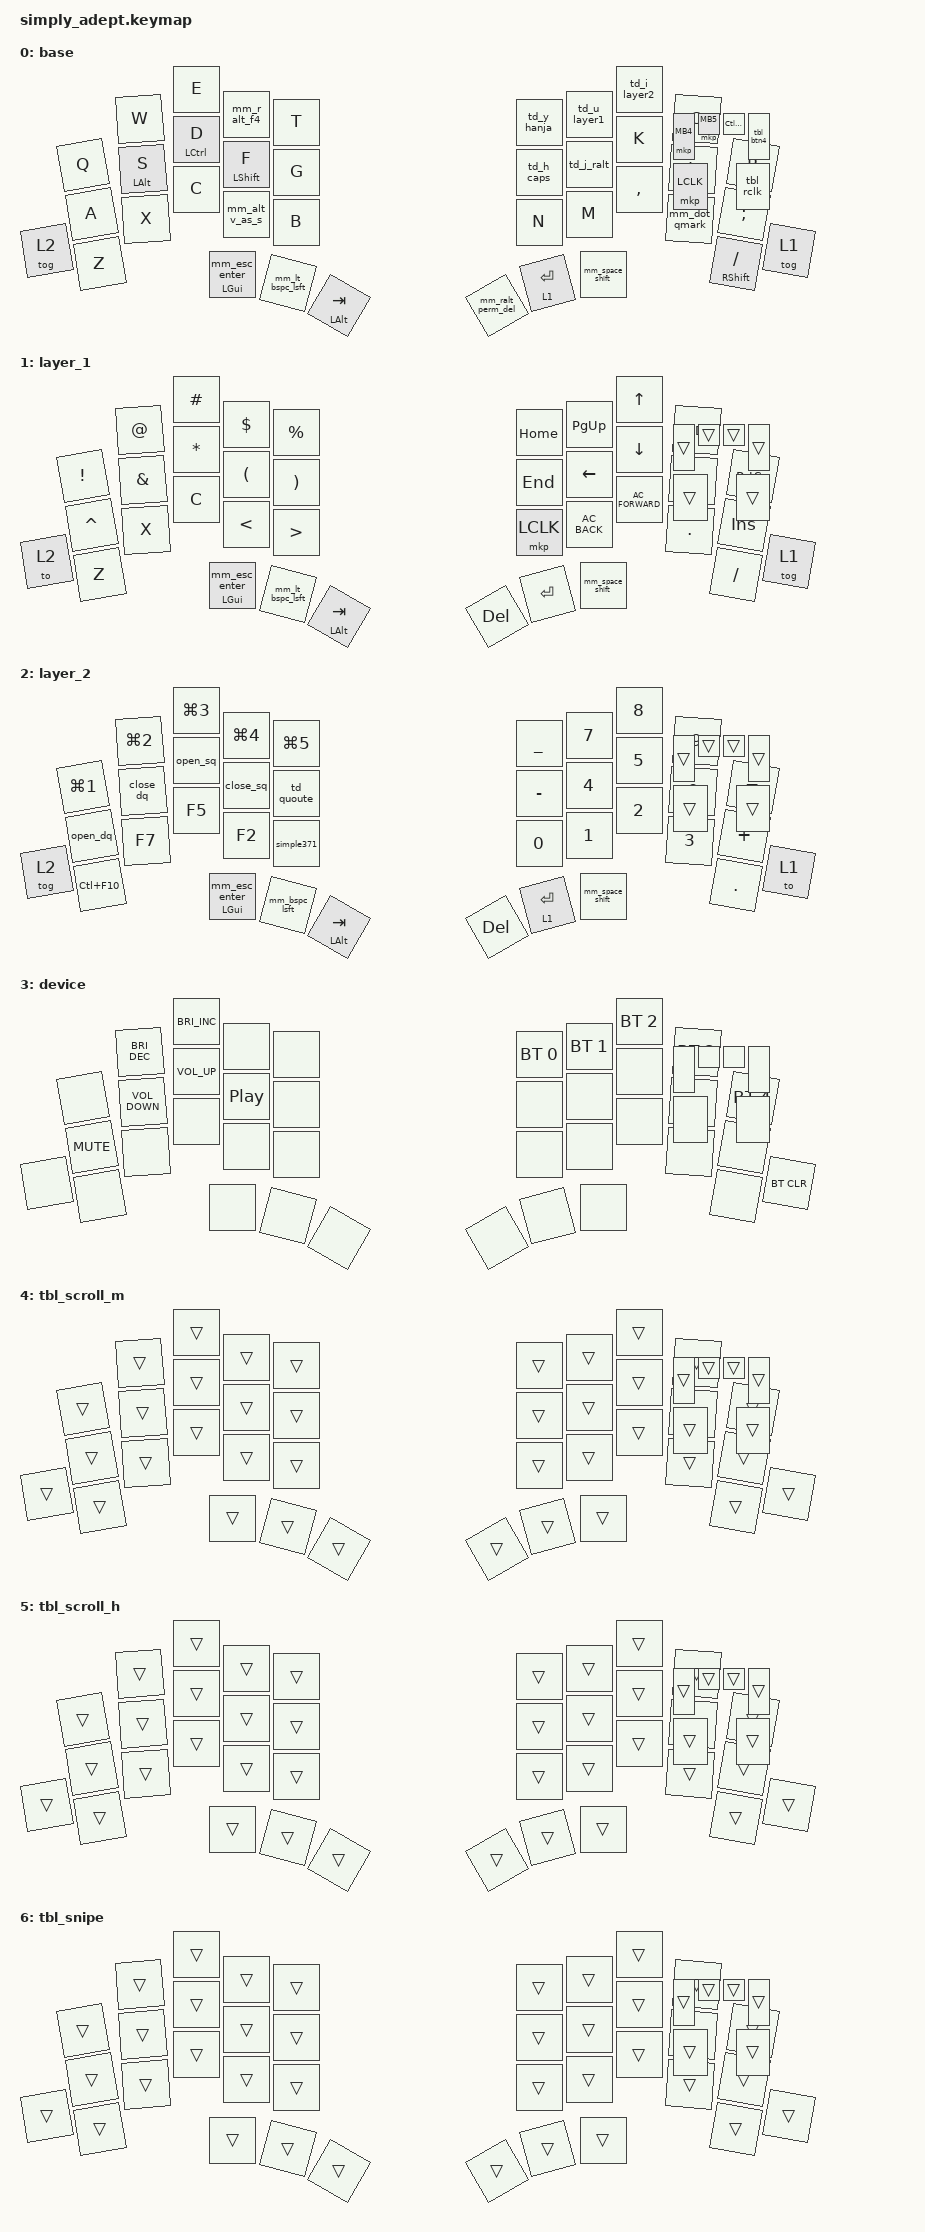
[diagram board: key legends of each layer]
/*
 * Totem keymap — 44 positions
 *   0-37 : keyboard keys (left 0-18, right 19-37, counting by matrix map order)
 *  38-43 : trackball buttons (row 4, cols 0-5)
 */

#include <behaviors.dtsi>
#include <dt-bindings/zmk/bt.h>
#include <dt-bindings/zmk/keys.h>
#include <dt-bindings/zmk/mouse.h>
#include <dt-bindings/zmk/pointing.h>

/ {
    macros {
        simple371: simple371 {
            compatible = "zmk,behavior-macro";
            #binding-cells = <0>;
            bindings = <&kp S &kp I &kp M &kp P &kp L &kp E &kp N3 &kp N7 &kp N1>;
        };

        open_dq: open_dq {
            compatible = "zmk,behavior-macro";
            #binding-cells = <0>;
            wait-ms = <20>;
            tap-ms = <20>;
            bindings =
                <&macro_tap>, <&kp KP_NUM>,
                <&macro_press>, <&kp LALT>,
                <&macro_tap>, <&kp KP_N0 &kp KP_N1 &kp KP_N4 &kp KP_N7>,
                <&macro_release>, <&kp LALT>,
                <&macro_tap>, <&kp KP_NUM>;
        };

        close_dq: close_dq {
            compatible = "zmk,behavior-macro";
            #binding-cells = <0>;
            wait-ms = <20>;
            tap-ms = <20>;
            bindings =
                <&macro_tap>, <&kp KP_NUM>,
                <&macro_press>, <&kp LALT>,
                <&macro_tap>, <&kp KP_N0 &kp KP_N1 &kp KP_N4 &kp KP_N8>,
                <&macro_release>, <&kp LALT>,
                <&macro_tap>, <&kp KP_NUM>;
        };

        open_sq: open_sq {
            compatible = "zmk,behavior-macro";
            #binding-cells = <0>;
            wait-ms = <20>;
            tap-ms = <20>;
            bindings =
                <&macro_tap>, <&kp KP_NUM>,
                <&macro_press>, <&kp LALT>,
                <&macro_tap>, <&kp KP_N0 &kp KP_N1 &kp KP_N4 &kp KP_N5>,
                <&macro_release>, <&kp LALT>,
                <&macro_tap>, <&kp KP_NUM>;
        };

        close_sq: close_sq {
            compatible = "zmk,behavior-macro";
            #binding-cells = <0>;
            wait-ms = <20>;
            tap-ms = <20>;
            bindings =
                <&macro_tap>, <&kp KP_NUM>,
                <&macro_press>, <&kp LALT>,
                <&macro_tap>, <&kp KP_N0 &kp KP_N1 &kp KP_N4 &kp KP_N6>,
                <&macro_release>, <&kp LALT>,
                <&macro_tap>, <&kp KP_NUM>;
        };
    };

    behaviors {
        hm: homerow_mods {
            compatible = "zmk,behavior-hold-tap";
            #binding-cells = <2>;
            tapping-term-ms = <190>;
            quick-tap-ms = <0>;
            flavor = "tap-preferred";
            require-prior-idle-ms = <190>;
            bindings = <&kp>, <&kp>;
        };

        hs: homerow_shift {
            compatible = "zmk,behavior-hold-tap";
            #binding-cells = <2>;
            tapping-term-ms = <190>;
            quick-tap-ms = <0>;
            flavor = "balanced";
            require-prior-idle-ms = <0>;
            bindings = <&kp>, <&kp>;
        };

        mm_space_ralt: mod_morph_space_ralt {
            compatible = "zmk,behavior-mod-morph";
            #binding-cells = <0>;
            bindings = <&kp SPACE>, <&kp DEL>;
            mods = <(MOD_RSFT)>;
        };

        mm_r_alt_f4: mod_morph_r_alt_f4 {
            compatible = "zmk,behavior-mod-morph";
            #binding-cells = <0>;
            bindings = <&kp R>, <&kp LA(F4)>;
            mods = <(MOD_LALT)>;
        };

        mm_dot_qmark: mod_morph_dot_qmark {
            compatible = "zmk,behavior-mod-morph";
            #binding-cells = <0>;
            bindings = <&kp DOT>, <&kp FSLH>;
            mods = <(MOD_RSFT)>;
            keep-mods = <(MOD_RSFT)>;
        };

        mm_esc_enter: mod_morph_esc_enter {
            compatible = "zmk,behavior-mod-morph";
            #binding-cells = <0>;
            bindings = <&kp ESC>, <&kp ENTER>;
            mods = <(MOD_LSFT)>;
        };

        mt_lgui_esc: mt_lgui_esc {
            compatible = "zmk,behavior-hold-tap";
            #binding-cells = <2>;
            tapping-term-ms = <200>;
            quick-tap-ms = <0>;
            flavor = "tap-preferred";
            bindings = <&kp>, <&mm_esc_enter>;
        };

        mm_bspc_lsft: mod_morph_bspc_lsft {
            compatible = "zmk,behavior-mod-morph";
            #binding-cells = <0>;
            bindings = <&kp BSPC>, <&kp BSPC>;
            mods = <(MOD_LSFT)>;
        };

        mm_enter_alttab: mod_morph_enter_alttab {
            compatible = "zmk,behavior-mod-morph";
            #binding-cells = <0>;
            bindings = <&mm_bspc_lsft>, <&kp TAB>;
            mods = <(MOD_LALT|MOD_RALT)>;
            keep-mods = <(MOD_LALT|MOD_RALT)>;
        };

        lt_mm: lt_mod_morph {
            compatible = "zmk,behavior-hold-tap";
            #binding-cells = <2>;
            tapping-term-ms = <170>;
            quick-tap-ms = <0>;
            flavor = "tap-preferred";
            bindings = <&mo>, <&mm_enter_alttab>;
        };

        td_h_caps: tap_dance_h_caps {
            compatible = "zmk,behavior-tap-dance";
            #binding-cells = <0>;
            tapping-term-ms = <210>;
            bindings = <&kp H>, <&kp CAPS>;
        };

        td_j_ralt: tap_dance_j_ralt {
            compatible = "zmk,behavior-tap-dance";
            #binding-cells = <0>;
            tapping-term-ms = <210>;
            bindings = <&kp J>, <&kp RALT>;
        };

        td_u_layer1: td_u_layer1 {
            compatible = "zmk,behavior-tap-dance";
            #binding-cells = <0>;
            tapping-term-ms = <210>;
            bindings = <&kp U>, <&tog 1>;
        };

        td_y_hanja: td_y_hanja {
            compatible = "zmk,behavior-tap-dance";
            #binding-cells = <0>;
            tapping-term-ms = <210>;
            bindings = <&kp Y>, <&kp LANG_HANJA>;
        };

        td_i_layer2: td_i_layer2 {
            compatible = "zmk,behavior-tap-dance";
            #binding-cells = <0>;
            tapping-term-ms = <210>;
            bindings = <&kp I>, <&tog 2>;
        };

        td_quoute: td_quoute {
            compatible = "zmk,behavior-tap-dance";
            #binding-cells = <0>;
            tapping-term-ms = <210>;
            bindings = <&kp SINGLE_QUOTE>, <&kp DOUBLE_QUOTES>;
        };

        mm_space_shift: mod_morph_space_shift {
            compatible = "zmk,behavior-mod-morph";
            #binding-cells = <0>;
            bindings = <&mm_space_ralt>, <&kp DEL>;
            mods = <(MOD_RSFT)>;
        };

        mm_ralt_perm_del: mod_morph_ralt_perm_del {
            compatible = "zmk,behavior-mod-morph";
            #binding-cells = <0>;
            bindings = <&kp RALT>, <&kp LS(DEL)>;
            mods = <(MOD_RSFT)>;
        };

        mm_lt_bspc_lsft: mm_lt_bspc_lsft {
            compatible = "zmk,behavior-mod-morph";
            #binding-cells = <0>;
            bindings = <&lt_mm 2 0>, <&mm_bspc_lsft>;
            mods = <(MOD_LSFT)>;
        };

        mm_alt_v_as_s: mm_alt_v_as_s {
            compatible = "zmk,behavior-mod-morph";
            #binding-cells = <0>;
            bindings = <&kp V>, <&kp S>;
            mods = <(MOD_LALT)>;
            keep-mods = <(MOD_LALT)>;
        };

        lth: layer_tap_hold {
            compatible = "zmk,behavior-hold-tap";
            #binding-cells = <2>;
            flavor = "hold-preferred";
            hold-while-undecided;
            tapping-term-ms = <150>;
            bindings = <&mo>, <&mkp>;
        };

        tbl_btn4: tbl_btn4 {
            compatible = "zmk,behavior-tap-dance";
            #binding-cells = <0>;
            tapping-term-ms = <250>;
            bindings = <&kp LC(V)>, <&tog 6>;
        };

        tbl_rclk: tbl_rclk {
            compatible = "zmk,behavior-tap-dance";
            #binding-cells = <0>;
            tapping-term-ms = <250>;
            bindings = <&lth 4 RCLK>, <&tog 5>;
        };
    };

    combos {
        compatible = "zmk,combos";

        combo_kl_ralt {
            timeout-ms = <75>;
            key-positions = <17 18>;
            bindings = <&kp RALT>;
        };

        combo_mcomma_excl {
            timeout-ms = <75>;
            key-positions = <27 28>;
            bindings = <&kp EXCL>;
        };

        combo_commadot_qmark {
            timeout-ms = <75>;
            key-positions = <28 29>;
            bindings = <&kp QMARK>;
        };

        combo_cv_paste {
            timeout-ms = <75>;
            key-positions = <23 24>;
            bindings = <&kp LC(V)>;
        };

        combo_xc_copy {
            timeout-ms = <75>;
            key-positions = <22 23>;
            bindings = <&kp LC(C)>;
        };

        combo_zx_cut {
            timeout-ms = <100>;
            key-positions = <21 22>;
            bindings = <&kp LC(X)>;
        };

        combo_xv_enter {
            timeout-ms = <75>;
            key-positions = <22 24>;
            bindings = <&kp ENTER>;
        };

        combo_vb_enter {
            timeout-ms = <75>;
            key-positions = <24 25>;
            bindings = <&kp ENTER>;
        };

        combo_nm_tilde {
            timeout-ms = <75>;
            key-positions = <26 27>;
            bindings = <&kp TILDE>;
        };

        combo_mdot_del {
            timeout-ms = <75>;
            key-positions = <27 29>;
            bindings = <&kp DEL>;
        };

        combo_wr_ralt {
            timeout-ms = <75>;
            key-positions = <1 3>;
            bindings = <&kp RALT>;
        };

        combo_we_back {
            timeout-ms = <75>;
            key-positions = <1 2>;
            bindings = <&kp C_AC_BACK>;
        };

        combo_er_forward {
            timeout-ms = <75>;
            key-positions = <2 3>;
            bindings = <&kp C_AC_FORWARD>;
        };

        /* Trackball combos */
        combo_tb_rclk {
            timeout-ms = <75>;
            key-positions = <40 41>;
            bindings = <&mkp RCLK>;
        };

        combo_tb_bootloader {
            timeout-ms = <75>;
            key-positions = <38 41>;
            bindings = <&bootloader>;
        };

        combo_ble_reset {
            timeout-ms = <150>;
            key-positions = <38 39 40 41>;
            bindings = <&bt BT_CLR>;
        };
    };

    keymap {
        compatible = "zmk,keymap";

        base {
            bindings = <
        &kp Q  &kp W       &kp E         &mm_r_alt_f4   &kp T           &td_y_hanja  &td_u_layer1  &td_i_layer2     &kp O          &kp P
        &kp A  &hm LALT S  &hm LCTRL D   &hm LSHIFT F   &kp G           &td_h_caps   &td_j_ralt    &kp K            &kp L          &kp SEMI
&tog 2  &kp Z  &kp X       &kp C         &mm_alt_v_as_s &kp B           &kp N        &kp M         &kp COMMA        &mm_dot_qmark  &mt RSHIFT FSLH  &tog 1
                            &mt_lgui_esc LGUI 0  &mm_lt_bspc_lsft  &mt LALT TAB  &mm_ralt_perm_del  &lt 1 ENTER  &mm_space_shift
        &mkp MB4  &mkp MB5  &kp LC(C)  &tbl_btn4  &mkp LCLK  &tbl_rclk
            >;
        };

        layer_1 {
            bindings = <
            &kp EXCL   &kp AT    &kp HASH  &kp DLLR       &kp PRCNT           &kp HOME  &kp PG_UP  &kp UP           &kp PG_DN  &kp PSCRN
            &kp CARET  &kp AMPS  &kp STAR  &kp LPAR       &kp RPAR            &kp END   &kp LEFT   &kp DOWN         &kp RIGHT  &kp INS
&to 2       &kp Z      &kp X     &kp C     &kp LESS_THAN  &kp GREATER_THAN    &mkp LCLK &kp C_AC_BACK  &kp C_AC_FORWARD  &kp DOT  &kp FSLH  &tog 1
                                 &mt_lgui_esc LGUI 0  &mm_lt_bspc_lsft  &mt LALT TAB  &kp DEL  &kp ENTER  &mm_space_shift
        &trans  &trans  &trans  &trans  &trans  &trans
            >;
        };

        layer_2 {
            bindings = <
        &kp LG(N1)   &kp LG(N2)  &kp LG(N3)  &kp LG(N4)  &kp LG(N5)   &kp UNDER  &kp N7  &kp N8  &kp N9  &kp EQUAL
        &open_dq     &close_dq   &open_sq    &close_sq   &td_quoute   &kp MINUS  &kp N4  &kp N5  &kp N6  &kp PLUS
&tog 2  &kp LC(F10)  &kp F7      &kp F5      &kp F2      &simple371   &kp N0     &kp N1  &kp N2  &kp N3  &kp DOT  &to 1
                                 &mt_lgui_esc LGUI 0  &mm_bspc_lsft  &mt LALT TAB  &kp DEL  &lt 1 ENTER  &mm_space_shift
        &trans  &trans  &trans  &trans  &trans  &trans
            >;
        };

        device {
            bindings = <
       &none       &kp C_BRIGHTNESS_DEC  &kp C_BRIGHTNESS_INC  &none             &none    &bt BT_SEL 0  &bt BT_SEL 1  &bt BT_SEL 2  &bt BT_SEL 3  &bt BT_SEL 4
       &kp K_MUTE  &kp C_VOLUME_DOWN     &kp C_VOLUME_UP       &kp C_PLAY_PAUSE  &none    &none         &none         &none         &none         &none
&none  &none       &none                 &none                 &none             &none    &none         &none         &none         &none         &none         &bt BT_CLR
                                         &none                 &none             &none    &none         &none         &none
        &none  &none  &none  &none  &none  &none
            >;
        };

        tbl_scroll_m {
            bindings = <
        &trans &trans &trans &trans &trans  &trans &trans &trans &trans &trans
        &trans &trans &trans &trans &trans  &trans &trans &trans &trans &trans
&trans  &trans &trans &trans &trans &trans  &trans &trans &trans &trans &trans  &trans
                      &trans &trans &trans  &trans &trans &trans
        &trans  &trans  &trans  &trans  &trans  &trans
            >;
        };

        tbl_scroll_h {
            bindings = <
        &trans &trans &trans &trans &trans  &trans &trans &trans &trans &trans
        &trans &trans &trans &trans &trans  &trans &trans &trans &trans &trans
&trans  &trans &trans &trans &trans &trans  &trans &trans &trans &trans &trans  &trans
                      &trans &trans &trans  &trans &trans &trans
        &trans  &trans  &trans  &trans  &trans  &trans
            >;
        };

        tbl_snipe {
            bindings = <
        &trans &trans &trans &trans &trans  &trans &trans &trans &trans &trans
        &trans &trans &trans &trans &trans  &trans &trans &trans &trans &trans
&trans  &trans &trans &trans &trans &trans  &trans &trans &trans &trans &trans  &trans
                      &trans &trans &trans  &trans &trans &trans
        &trans  &trans  &trans  &trans  &trans  &trans
            >;
        };
    };

    conditional_layers {
        compatible = "zmk,conditional-layers";

        device {
            if-layers = <1 2>;
            then-layer = <3>;
        };
    };
};
